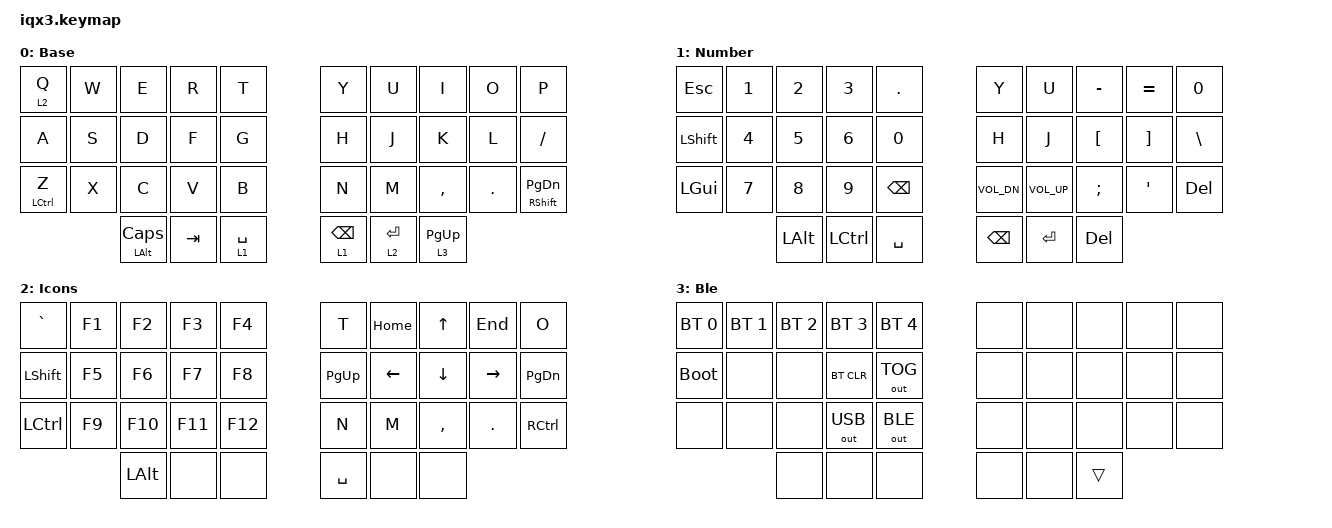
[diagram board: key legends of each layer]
#include <dt-bindings/zmk.h>
#include <behaviors.dtsi>
#include <dt-bindings/zmk/bt.h>
#include <dt-bindings/zmk/keys.h>
#include <dt-bindings/zmk/outputs.h>

/ {
    behaviors {
        tab_esc_ctrl: tab_esc_ctrl {
            compatible = "zmk,behavior-tap-dance";
            label = "TAB_ESC_CTRL";
            #binding-cells = <0>;
            bindings = <&mt LCTRL ESC>, <&kp TAB>;
        };

        gqt: global-quick-tap {
            compatible = "zmk,behavior-hold-tap";
            label = "GLOBAL_QUICK_TAP";
            bindings = <&kp>, <&kp>;

            #binding-cells = <2>;
            quick-tap-ms = <180>;
            tapping-term-ms = <200>;
            global-quick-tap;
            flavor = "tap-preferred";
        };

        ltq: ltq {
            compatible = "zmk,behavior-hold-tap";
            label = "LTQ";
            bindings = <&mo>, <&kp>;

            #binding-cells = <2>;
            global-quick-tap;
            tapping-term-ms = <200>;
            quick-tap-ms = <180>;
            flavor = "tap-preferred";
        };
    };

    macros {
        KEY: new_macro {
            compatible = "zmk,behavior-macro";
            #binding-cells = <0>;
            bindings = <&kp LS(C) &kp H &kp L &kp DOT &kp N8 &kp N8 &kp N0 &kp N6 &kp N0 &kp N2 &kp EXCL &kp AT &kp POUND &kp DLLR &kp PRCNT &kp CARET &kp ENTER>;
            label = "NEW_MACRO";
        };
    };

    keymap {
        compatible = "zmk,keymap";

        Base {
            label = "Base";
            bindings = <
  &lt 2 Q      &kp W  &kp E              &kp R    &kp T        &kp Y            &kp U        &kp I        &kp O    &kp P
  &kp A        &kp S  &kp D              &kp F    &kp G        &kp H            &kp J        &kp K        &kp L    &kp SLASH
  &mt LCTRL Z  &kp X  &kp C              &kp V    &kp B        &kp N            &kp M        &kp COMMA    &kp DOT  &mt RSHFT PG_DN
                      &mt LALT CAPSLOCK  &kp TAB  &lt 1 SPACE  &lt 1 BACKSPACE  &lt 2 ENTER  &lt 3 PG_UP
            >;
        };

        Number {
            label = "Number";
            bindings = <
  &kp ESC    &kp N1  &kp N2    &kp N3     &kp DOT    &kp Y         &kp U         &kp MINUS   &kp EQUAL  &kp N0
  &kp LSHFT  &kp N4  &kp N5    &kp N6     &kp N0     &kp H         &kp J         &kp LBKT    &kp RBKT   &kp BSLH
  &kp LGUI   &kp N7  &kp N8    &kp N9     &kp BSPC   &kp C_VOL_DN  &kp C_VOL_UP  &kp SEMI    &kp APOS   &kp DEL
                     &kp LALT  &kp LCTRL  &kp SPACE  &kp BSPC      &kp ENTER     &kp DELETE
            >;
        };

        Icons {
            label = "Icons";
            bindings = <
  &kp GRAVE  &kp F1  &kp F2    &kp F3   &kp F4   &kp T      &kp HOME  &kp UP     &kp END    &kp O
  &kp LSHFT  &kp F5  &kp F6    &kp F7   &kp F8   &kp PG_UP  &kp LEFT  &kp DOWN   &kp RIGHT  &kp PG_DN
  &kp LCTRL  &kp F9  &kp F10   &kp F11  &kp F12  &kp N      &kp M     &kp COMMA  &kp DOT    &kp RCTRL
                     &kp LALT  &none    &none    &kp SPACE  &none     &none
            >;
        };

        Ble {
            label = "Ble";
            bindings = <
  &bt BT_SEL 0  &bt BT_SEL 1  &bt BT_SEL 2  &bt BT_SEL 3  &bt BT_SEL 4  &none  &none  &none   &none  &none
  &bootloader   &none         &none         &bt BT_CLR    &out OUT_TOG  &none  &none  &none   &none  &none
  &none         &none         &none         &out OUT_USB  &out OUT_BLE  &none  &none  &none   &none  &none
                              &none         &none         &none         &none  &none  &trans
            >;
        };
    };
};
